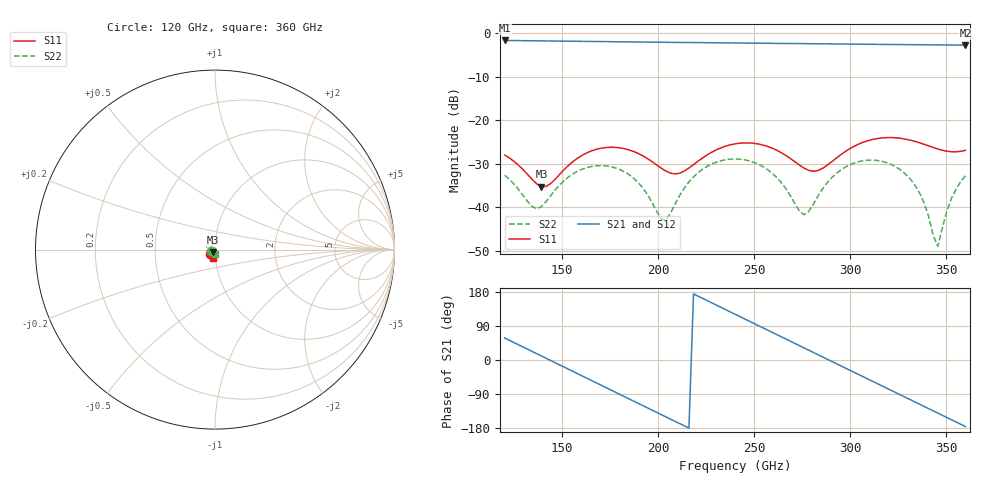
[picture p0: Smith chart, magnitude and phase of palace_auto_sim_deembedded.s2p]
! Created with skrf 1.11.0 (http://scikit-rf.org).
# GHz S DB R 50.0
!freq dBS11 angS11 dBS21 angS21 dBS12 angS12 dBS22 angS22
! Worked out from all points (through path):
!   101 points, 120 GHz to 360 GHz, reference 50 ohm
!   highest |S21| = -1.64 dB at 120 GHz (marker M1); lowest = -2.7 dB at 360 GHz (marker M2)
!   group delay of S21, straight-line fit = 6.87 ps
!   lowest |S11| = -35.2 dB at 139.2 GHz (marker M3), VSWR 1.04, Z = 49.1 - j1.43 ohm
!   |S11| at or under -10 dB: start of sweep to end of sweep
!   |S22| runs from -48.9 to -28.9 dB; largest |S21 - S12| = 9.2e-14
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120  -27.98 -138.9  -1.64 58.2  -1.64 58.2  -32.63 -161.7
134.4  -33.61 -139.7  -1.72 22.5  -1.72 22.5  -39.85 -150.3
139.2  -35.25 -122.6  -1.74 10.6  -1.74 10.6  -39.85 -124.5
148.8  -32.37 -90.5  -1.79 -13.3  -1.79 -13.3  -34.81 -108.7
160.8  -27.94 -94.3  -1.85 -43.1  -1.85 -43.1  -31.18 -125.3
180  -26.33 -121.4  -1.95 -90.6  -1.95 -90.6  -31.33 -163.7
192  -28.18 -134.4  -2.01 -120.3  -2.01 -120.3  -35.58 178.1
201.6  -31.01 -131.7  -2.06 -144.1  -2.06 -144.1  -42.68 -157.2
204  -31.68 -127.5  -2.07 -150.0  -2.07 -150.0  -42.92 -135.2
211.2  -32.16 -107.8  -2.10 -167.8  -2.10 -167.8  -37.26 -104.4
220.8  -29.39 -92.7  -2.14 168.4  -2.14 168.4  -32.04 -113.0
240  -25.42 -106.6  -2.22 120.9  -2.22 120.9  -28.90 -151.9
259.2  -26.38 -129.5  -2.31 73.4  -2.31 73.4  -32.11 170.5
276  -31.01 -124.2  -2.38 31.9  -2.38 31.9  -41.71 -160.0
280.8  -31.72 -110.6  -2.40 20.0  -2.40 20.0  -39.26 -130.0
290.4  -29.53 -87.6  -2.44 -3.7  -2.44 -3.7  -33.19 -126.4
300  -26.48 -86.1  -2.48 -27.5  -2.48 -27.5  -30.19 -143.3
321.6  -23.98 -107.2  -2.57 -80.8  -2.57 -80.8  -30.20 165.1
336  -25.15 -118.1  -2.63 -116.3  -2.63 -116.3  -36.60 121.8
345.6  -26.59 -116.7  -2.66 -140.0  -2.66 -140.0  -48.95 10.5
352.8  -27.24 -109.5  -2.69 -157.8  -2.69 -157.8  -37.91 -71.0
360  -26.91 -101.0  -2.72 -175.6  -2.72 -175.6  -32.77 -96.7
